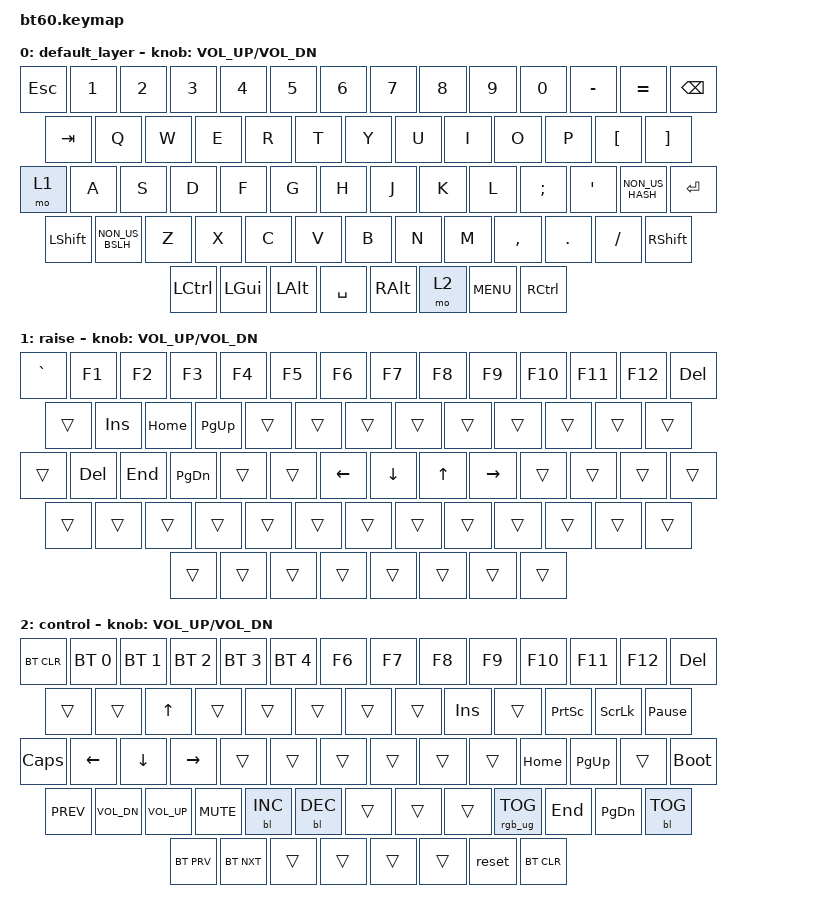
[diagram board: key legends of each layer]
#include <behaviors.dtsi>
#include <dt-bindings/zmk/keys.h>
#include <dt-bindings/zmk/bt.h>
#include <dt-bindings/zmk/rgb.h>
#include <dt-bindings/zmk/backlight.h>

/ {
	keymap {
		compatible = "zmk,keymap";

		default_layer {
				// ------------------------------------------------------------------------------------------
				// |  `  |  1  |  2  |  3  |  4  |  5  |  6  |  7  |  8  |  9  |  0  |  -  |  =  |   BKSP
				// | TAB  |  Q  |  W  |  E  |  R  |  T  |  Y  |  U  |  I  |  O  |  P  |  [  |  ]  |        |
				// | CAPS  |  A  |  S  |  D  |  F  |  G  |  H  |  J  |  K  |  L  |  ;  |  '  |  #  | ENTER |
				// |  SHIFT|  \ |  Z  |  X  |  C  |  V  |  B  |  N  |  M  |  ,  |  .  | /   |    SHIFT    |
				// |  CTL  |  WIN  |  ALT  |            SPACE               | ALT | 1    |  MENU    |  CTRL|
				// ------------------------------------------------------------------------------------------
			bindings = <

				&kp ESC &kp N1 &kp N2 &kp N3 &kp N4 &kp N5 &kp N6 &kp N7 &kp  N8   &kp  N9 &kp  N0  &kp MINUS &kp EQUAL &kp BSPC
				&kp TAB  &kp Q  &kp W  &kp E  &kp R  &kp T  &kp Y  &kp U  &kp  I    &kp  O  &kp  P   &kp LBKT &kp RBKT
				&mo 1     &kp A  &kp S  &kp D  &kp F  &kp G  &kp H  &kp J  &kp  K    &kp  L  &kp SEMI &kp SQT &kp NON_US_HASH  &kp RET
				&kp LSHFT &kp NON_US_BSLH &kp Z  &kp X  &kp C  &kp V  &kp B  &kp N  &kp M  &kp COMMA &kp DOT &kp FSLH         &kp RSHFT
				&kp LCTRL &kp LGUI &kp LALT            &kp SPACE                          &kp RALT  &mo 2 &kp C_MENU    &kp RCTRL
			>;
			sensor-bindings = <&inc_dec_kp C_VOL_UP C_VOL_DN>;
		};
		raise {
			bindings = <
				&kp GRAVE &kp F1 &kp F2 &kp F3 &kp F4 &kp F5 &kp F6 &kp F7 &kp F8 &kp F9 &kp F10 &kp F11 &kp F12 &kp DEL
				&trans &kp INS &kp HOME &kp PG_UP &trans &trans &trans &trans &trans &trans &trans &trans &trans
				&trans    &kp DEL &kp END &kp PG_DN &trans &trans &kp LEFT &kp DOWN &kp UP &kp RIGHT &trans  &trans &trans  &trans
				&trans   &trans &trans  &trans &trans &trans &trans &trans &trans &trans &trans &trans  &trans
				&trans &trans  &trans              &trans                          &trans   &trans   &trans &trans
			>;
			sensor-bindings = <&inc_dec_kp C_VOL_UP C_VOL_DN>;
		};
		control {
			bindings = <
				&bt BT_CLR &bt BT_SEL 0 &bt BT_SEL 1 &bt BT_SEL 2 &bt BT_SEL 3 &bt BT_SEL 4 &kp F6 &kp F7 &kp F8 &kp F9 &kp F10 &kp F11 &kp F12 &kp DEL
				&trans &trans &kp UP &trans &trans &trans &trans &trans &kp INS &trans &kp PSCRN &kp SLCK &kp PAUSE_BREAK
				&kp CAPS    &kp LEFT &kp DOWN &kp RIGHT &trans &trans &trans &trans &trans &trans &kp HOME  &kp PG_UP &trans  &bootloader
				&kp C_PREV &kp C_VOL_DN &kp C_VOL_UP &kp C_MUTE &bl BL_INC &bl BL_DEC &trans &trans &trans &rgb_ug RGB_TOG &kp END &kp PG_DN  &bl BL_TOG
				&bt BT_PRV &bt BT_NXT  &trans              &trans                            &trans   &trans   &reset &bt BT_CLR
			>;
			sensor-bindings = <&inc_dec_kp C_VOL_UP C_VOL_DN>;
		};
	};
};
